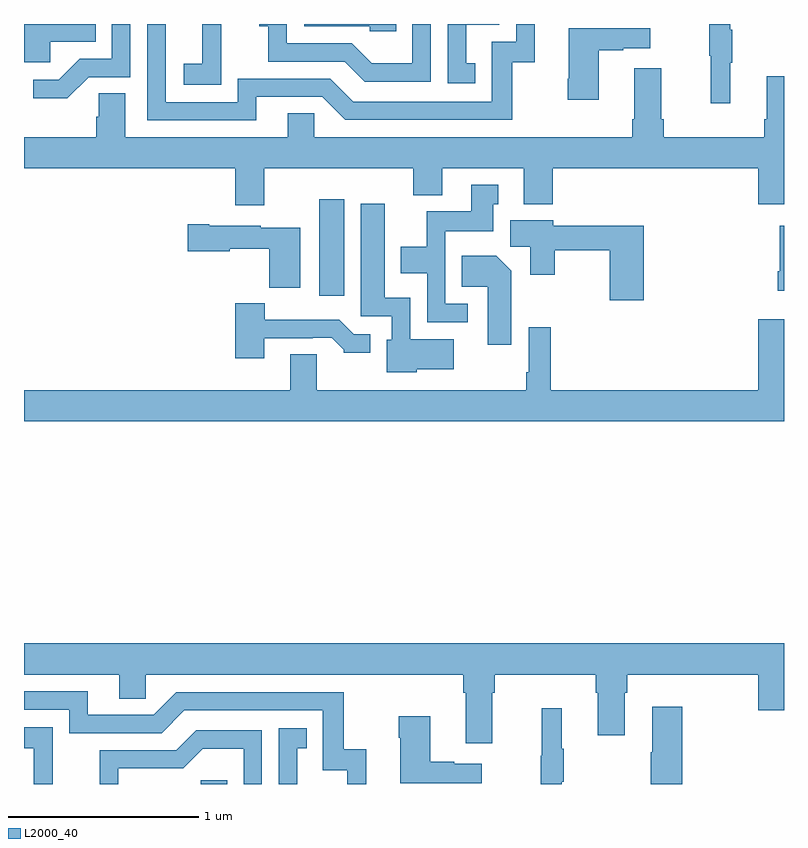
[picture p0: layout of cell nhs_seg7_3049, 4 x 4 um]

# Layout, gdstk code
import gdstk
lib = gdstk.Library(unit=1e-6, precision=1e-09)
def R(c, l, rs):  # rectangles x0, y0, x1, y1
    for r in rs: c.add(gdstk.rectangle(r[:2], r[2:], *l))
def P(c, l, *ps):  # polygons
    for p in ps: c.add(gdstk.Polygon(p, *l))
L2000_40 = (2000, 40)

nhs_seg7_3049 = lib.new_cell('nhs_seg7_3049')
R(nhs_seg7_3049, L2000_40, [(305.931,1040,306.071,1040.019), (306.554,1042.569,306.685,1043.077)])
P(nhs_seg7_3049, L2000_40, [(306.223,1043.616),(306.57,1043.616),(306.69,1043.496),(307.57,1043.496),(307.57,1043.799),(307.688,1043.799),(307.688,1044),(307.59,1044),(307.59,1043.907),(307.461,1043.907),(307.461,1043.592),(306.732,1043.592),(306.612,1043.712),(306.126,1043.712),(306.126,1043.589),(305.745,1043.589),(305.745,1044),(305.649,1044),(305.649,1043.493),(306.223,1043.493)],
  [(307.376,1043.793),(307.327,1043.793),(307.327,1043.997),(307.5,1043.997),(307.5,1044),(307.23,1044),(307.23,1043.688),(307.376,1043.688)],
  [(308.717,1043.795),(308.728,1043.795),(308.728,1043.969),(308.717,1043.969),(308.717,1044),(308.607,1044),(308.607,1043.832),(308.614,1043.832),(308.614,1043.583),(308.717,1043.583)],
  [(306.959,1044),(306.474,1044),(306.474,1043.988),(306.819,1043.988),(306.819,1043.961),(306.959,1043.961)],
  [(306.039,1043.887),(306.038,1043.887),(306.038,1044),(305.939,1044),(305.939,1043.791),(305.841,1043.791),(305.841,1043.681),(306.039,1043.681)],
  [(307.14,1044),(307.044,1044),(307.044,1043.794),(306.83,1043.794),(306.726,1043.898),(306.384,1043.898),(306.384,1044),(306.237,1044),(306.237,1043.987),(306.286,1043.987),(306.286,1043.802),(306.689,1043.802),(306.794,1043.697),(307.14,1043.697)],
  [(305.139,1043.906),(305.378,1043.906),(305.378,1044),(305,1044),(305,1043.798),(305.139,1043.798)],
  [(305.34,1043.721),(305.559,1043.721),(305.559,1044),(305.463,1044),(305.463,1043.817),(305.294,1043.817),(305.183,1043.706),(305.049,1043.706),(305.049,1043.609),(305.227,1043.609)],
  [(308.026,1043.863),(308.153,1043.863),(308.153,1043.873),(308.296,1043.873),(308.296,1043.977),(307.868,1043.977),(307.868,1043.713),(307.861,1043.713),(307.861,1043.601),(308.026,1043.601)],
  [(306.265,1043.24),(307.049,1043.24),(307.049,1043.099),(307.201,1043.099),(307.201,1043.24),(307.631,1043.24),(307.631,1043.051),(307.784,1043.051),(307.784,1043.24),(308.864,1043.24),(308.864,1043.052),(309,1043.052),(309,1043.725),(308.909,1043.725),(308.909,1043.5),(308.897,1043.5),(308.897,1043.404),(308.366,1043.404),(308.366,1043.5),(308.353,1043.5),(308.353,1043.767),(308.213,1043.767),(308.213,1043.5),(308.201,1043.5),(308.201,1043.404),(306.528,1043.404),(306.528,1043.531),(306.389,1043.531),(306.389,1043.404),(305.533,1043.404),(305.533,1043.636),(305.394,1043.636),(305.394,1043.513),(305.381,1043.513),(305.381,1043.404),(305,1043.404),(305,1043.24),(306.113,1043.24),(306.113,1043.046),(306.265,1043.046)],
  [(307.336,1042.527),(307.218,1042.527),(307.218,1042.91),(307.471,1042.91),(307.471,1043.052),(307.495,1043.052),(307.495,1043.155),(307.355,1043.155),(307.355,1043.014),(307.12,1043.014),(307.12,1042.828),(306.983,1042.828),(306.983,1042.688),(307.122,1042.688),(307.122,1042.431),(307.336,1042.431)],
  [(307.068,1042.184),(307.261,1042.184),(307.261,1042.342),(307.032,1042.342),(307.032,1042.558),(306.898,1042.558),(306.898,1043.053),(306.773,1043.053),(306.773,1042.461),(306.936,1042.461),(306.936,1042.338),(306.908,1042.338),(306.908,1042.166),(307.068,1042.166)],
  [(308.261,1042.939),(307.786,1042.939),(307.786,1042.966),(307.559,1042.966),(307.559,1042.828),(307.664,1042.828),(307.664,1042.68),(307.794,1042.68),(307.794,1042.81),(308.083,1042.81),(308.083,1042.545),(308.261,1042.545)],
  [(306.454,1042.927),(306.246,1042.927),(306.246,1042.939),(305.974,1042.939),(305.974,1042.947),(305.862,1042.947),(305.862,1042.805),(306.084,1042.805),(306.084,1042.817),(306.292,1042.817),(306.292,1042.613),(306.454,1042.613)],
  [(309,1042.939),(308.978,1042.939),(308.978,1042.699),(308.966,1042.699),(308.966,1042.595),(309,1042.595)],
  [(307.564,1042.702),(307.486,1042.78),(307.303,1042.78),(307.303,1042.616),(307.442,1042.616),(307.442,1042.311),(307.564,1042.311)],
  [(306.265,1042.347),(306.521,1042.347),(306.521,1042.35),(306.62,1042.35),(306.684,1042.286),(306.684,1042.271),(306.823,1042.271),(306.823,1042.368),(306.735,1042.368),(306.659,1042.444),(306.268,1042.444),(306.268,1042.531),(306.113,1042.531),(306.113,1042.242),(306.265,1042.242)],
  [(309,1042.447),(308.864,1042.447),(308.864,1042.072),(307.772,1042.072),(307.772,1042.405),(307.656,1042.405),(307.656,1042.168),(307.644,1042.168),(307.644,1042.072),(306.541,1042.072),(306.541,1042.262),(306.401,1042.262),(306.401,1042.072),(305,1042.072),(305,1041.908),(309,1041.908)],
  [(307.465,1040.48),(307.478,1040.48),(307.478,1040.576),(308.009,1040.576),(308.009,1040.48),(308.021,1040.48),(308.021,1040.256),(308.161,1040.256),(308.161,1040.48),(308.174,1040.48),(308.174,1040.576),(308.864,1040.576),(308.864,1040.388),(309,1040.388),(309,1040.74),(305,1040.74),(305,1040.576),(305.501,1040.576),(305.501,1040.449),(305.64,1040.449),(305.64,1040.576),(307.313,1040.576),(307.313,1040.48),(307.325,1040.48),(307.325,1040.214),(307.465,1040.214)],
  [(306.8,1040.182),(306.682,1040.182),(306.682,1040.484),(305.802,1040.484),(305.682,1040.364),(305.335,1040.364),(305.335,1040.487),(305,1040.487),(305,1040.391),(305.238,1040.391),(305.238,1040.268),(305.724,1040.268),(305.844,1040.388),(306.573,1040.388),(306.573,1040.073),(306.702,1040.073),(306.702,1040),(306.8,1040)],
  [(308.465,1040.407),(308.306,1040.407),(308.306,1040.168),(308.299,1040.168),(308.299,1040),(308.465,1040)],
  [(307.829,1040.011),(307.84,1040.011),(307.84,1040.185),(307.829,1040.185),(307.829,1040.398),(307.726,1040.398),(307.726,1040.148),(307.719,1040.148),(307.719,1040),(307.829,1040)],
  [(307.408,1040.107),(307.265,1040.107),(307.265,1040.117),(307.138,1040.117),(307.138,1040.356),(306.973,1040.356),(306.973,1040.243),(306.98,1040.243),(306.98,1040.003),(307.408,1040.003)],
  [(305.15,1040.093),(305.151,1040.093),(305.151,1040.299),(305,1040.299),(305,1040.189),(305.051,1040.189),(305.051,1040),(305.15,1040)],
  [(306.439,1040.187),(306.488,1040.187),(306.488,1040.293),(306.342,1040.293),(306.342,1040),(306.439,1040)],
  [(305.496,1040.082),(305.838,1040.082),(305.942,1040.186),(306.156,1040.186),(306.156,1040),(306.252,1040),(306.252,1040.283),(305.906,1040.283),(305.801,1040.178),(305.398,1040.178),(305.398,1040),(305.496,1040)])

lib.write_gds('nhs_seg7_3049.gds')
